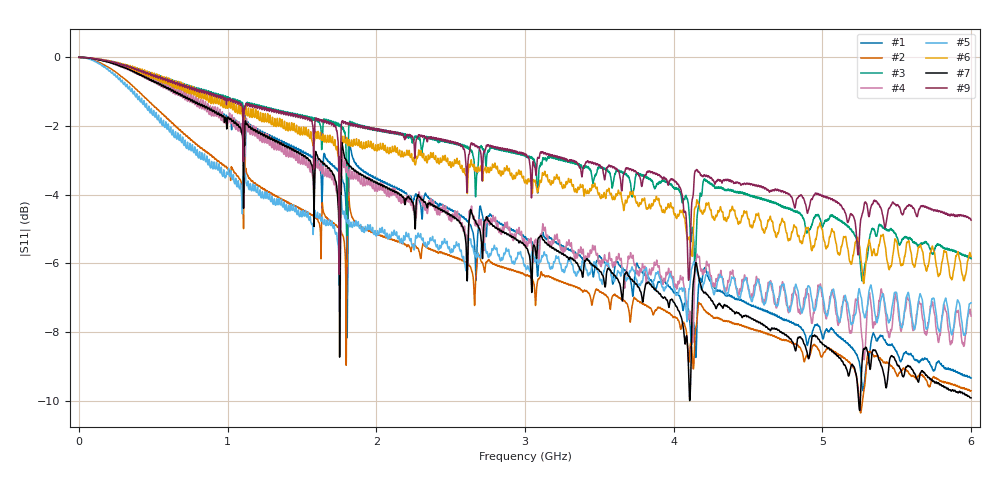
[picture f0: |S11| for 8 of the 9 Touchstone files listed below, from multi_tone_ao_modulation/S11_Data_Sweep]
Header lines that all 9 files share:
!Keysight Technologies,P9374A,MY57304198,A.17.20.09
!Correction: S11(C  1-Port  )
!S21(C  1-Port  )
!S12(Off)
!S22(Off)
!S2P File: Measurements: S11, S21, S12, S22:
# Hz S  dB  R 50
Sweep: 300 kHz to 6 GHz
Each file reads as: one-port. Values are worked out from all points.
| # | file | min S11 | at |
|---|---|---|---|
| 1 | die2-3_wg23_RU_ultranarrowperiodic_bi_1mm_2024-08-20-14-22.s2p | -9.7 dB | 5.273 GHz |
| 2 | die2-3_wg23_RU_ultranarrowperiodic_bi_2mm_2024-08-20-14-27.s2p | -10.4 dB | 5.257 GHz |
| 3 | die2-3_wg23_RU_ultranarrowperiodic_bi_500um_2024-08-20-14-25.s2p | -6.5 dB | 5.267 GHz |
| 4 | die2-3_wg24_RL_midperiodic_bar_1mm_2024-08-16-16-01.s2p | -8.8 dB | 5.281 GHz |
| 5 | die2-3_wg24_RL_narrowperiodic_bar_2mm_2024-08-16-15-56.s2p | -8.1 dB | 5.952 GHz |
| 6 | die2-3_wg24_RL_wideperiodic_bar_500um_2024-08-16-15-59.s2p | -6.6 dB | 5.278 GHz |
| 7 | die2-3_wg24_RU_ultranarrowperiodic_bi_1mm_2024-08-20-16-54.s2p | -10.3 dB | 5.251 GHz |
| 8 | die2-3_wg24_RU_ultranarrowperiodic_bi_2mm_2024-08-20-14-29.s2p | -10.5 dB | 5.224 GHz |
| 9 | die2-3_wg24_RU_ultranarrowperiodic_bi_500um_2024-08-20-14-32.s2p | -6.5 dB | 4.101 GHz |
